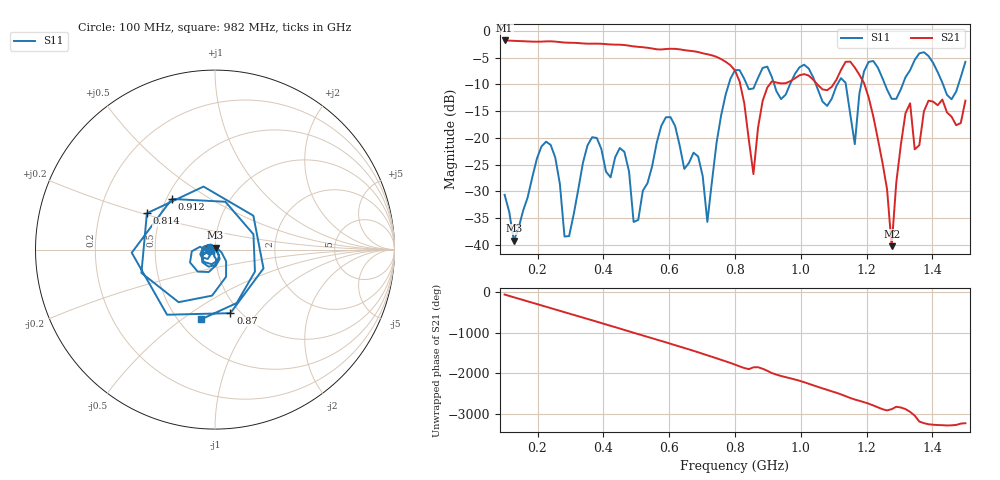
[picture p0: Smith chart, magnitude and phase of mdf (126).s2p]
! NanoVNA-App
! Date: 2025-09-26 09:40:43
! Start: 100MHz Stop: 1,5GHz Points: 101
! S-Parameter data: F S11 S21 S12 S22
# Hz S RI R 50
!  Frequency  S11_Real  S11_Imag  S21_Real  S21_Imag  S12_Real  S12_Imag  S22_Real  S22_Imag
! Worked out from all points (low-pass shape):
!   101 points, 100 MHz to 1.5 GHz, reference 50 ohm
!   highest |S21| = -1.79 dB at 100 MHz (marker M1); lowest = -40.2 dB at 1.276 GHz (marker M2)
!   |S21| within 3 dB of the highest: start of sweep to 740.7 MHz
!   lowest |S11| = -39.2 dB at 128 MHz (marker M3), VSWR 1.02, Z = 50.3 + j1.07 ohm
!   |S11| at or under -10 dB: start of sweep to 780.9 MHz; 1.046 GHz to 1.111 GHz (65.06 MHz wide, 6.03 % of centre); 1.256 GHz to 1.31 GHz (53.92 MHz wide, 4.2 % of centre)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
!   S12 and S22 are empty: the file has one direction only
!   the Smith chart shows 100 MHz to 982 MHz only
!   S11 on the Smith chart (normalised r, x): 100 MHz: 0.94, -0.01; 814 MHz: 0.42, +0.21; 870 MHz: 0.90, -0.74; 912 MHz: 0.53, +0.35; 982 MHz: 0.64, -0.59
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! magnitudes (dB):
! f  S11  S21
! 100 MHz  -30.6  -1.8
! 128 MHz  -39.2  -1.9
! 212 MHz  -21.6  -2.0
! 282 MHz  -38.4  -2.2
! 338 MHz  -24.6  -2.3
! 464 MHz  -22.6  -2.6
! 506 MHz  -35.3  -3.0
! 576 MHz  -17.7  -3.5
! 716 MHz  -35.7  -4.4
! 800 MHz  -7.3  -7.4
! 814 MHz  -7.3  -9.5
! 856 MHz  -10.8  -26.8
! 870 MHz  -8.8  -18.1
! 912 MHz  -8.6  -9.4
! 982 MHz  -8.0  -8.9
! 1.038 GHz  -8.7  -9.1
! 1.136 GHz  -9.7  -5.8
! 1.164 GHz  -21.2  -6.8
! 1.192 GHz  -7.6  -9.7
! 1.276 GHz  -12.7  -40.2
! 1.332 GHz  -7.3  -13.5
! 1.5 GHz  -5.8  -13.0
